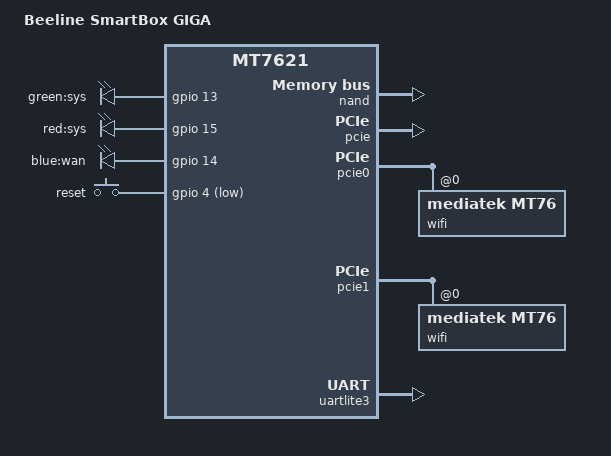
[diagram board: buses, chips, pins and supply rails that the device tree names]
// SPDX-License-Identifier: GPL-2.0-or-later OR MIT

#include "mt7621.dtsi"

#include <dt-bindings/gpio/gpio.h>
#include <dt-bindings/input/input.h>

/ {
	compatible = "beeline,smartbox-giga", "mediatek,mt7621-soc";
	model = "Beeline SmartBox GIGA";

	aliases {
		label-mac-device = &gmac0;

		led-boot = &led_sys_green;
		led-failsafe = &led_sys_red;
		led-running = &led_sys_green;
		led-upgrade = &led_sys_red;
	};

	leds {
		compatible = "gpio-leds";

		led_sys_green: sys_green {
			label = "green:sys";
			gpios = <&gpio 13 GPIO_ACTIVE_HIGH>;
		};

		led_sys_red: sys_red {
			label = "red:sys";
			gpios = <&gpio 15 GPIO_ACTIVE_HIGH>;
		};

		wan_blue {
			label = "blue:wan";
			gpios = <&gpio 14 GPIO_ACTIVE_HIGH>;
		};
	};

	keys {
		compatible = "gpio-keys";

		reset {
			label = "reset";
			gpios = <&gpio 4 GPIO_ACTIVE_LOW>;
			linux,code = <KEY_RESTART>;
		};
	};

	ubi-concat {
		compatible = "mtd-concat";
		devices = <&ubiconcat0 &ubiconcat1 &ubiconcat2 \
			&ubiconcat3>;

		partitions {
			compatible = "fixed-partitions";
			#address-cells = <1>;
			#size-cells = <1>;

			partition@0 {
				label = "ubi";
				reg = <0x0 0x5400000>;
			};
		};
	};
};

&nand {
	status = "okay";

	partitions {
		compatible = "sercomm,sc-partitions", "fixed-partitions";
		#address-cells = <1>;
		#size-cells = <1>;

		partition@0 {
			label = "u-boot";
			reg = <0x0 0x100000>;
			scpart-id = <0>;
			read-only;
		};

		partition@100000 {
			label = "dynamic partition map";
			reg = <0x100000 0x100000>;
			scpart-id = <1>;
		};

		factory: partition@200000 {
			label = "Factory";
			reg = <0x200000 0x100000>;
			scpart-id = <2>;
			read-only;
		};

		partition@300000 {
			label = "Boot Flag";
			reg = <0x300000 0x100000>;
			scpart-id = <3>;
		};

		partition@400000 {
			label = "kernel";
			reg = <0x400000 0x600000>;
			scpart-id = <4>;
		};

		partition@a00000 {
			label = "Kernel 2";
			reg = <0xa00000 0x600000>;
			scpart-id = <5>;
			read-only;
		};

		ubiconcat0: partition@1000000 {
			label = "File System 1";
			reg = <0x1000000 0x1800000>;
			scpart-id = <6>;
		};

		partition@2800000 {
			label = "File System 2";
			reg = <0x2800000 0x1800000>;
			scpart-id = <7>;
			read-only;
		};

		ubiconcat1: partition@4000000 {
			label = "Configuration/log";
			reg = <0x4000000 0x800000>;
			scpart-id = <8>;
		};

		ubiconcat2: partition@4800000 {
			label = "application tmp buffer (Ftool)";
			reg = <0x4800000 0xc00000>;
			scpart-id = <9>;
		};

		ubiconcat3: partition@5400000 {
			label = "container";
			reg = <0x5400000 0x2800000>;
			scpart-id = <10>;
		};

		partition@7c00000 {
			label = "bad block reserved";
			reg = <0x7c00000 0x380000>;
			read-only;
			scpart-id = <11>;
		};
	};
};

&pcie {
	status = "okay";
};

&pcie0 {
	wifi@0,0 {
		compatible = "mediatek,mt76";
		reg = <0x0 0 0 0 0>;
		mediatek,mtd-eeprom = <&factory 0x8000>;
		ieee80211-freq-limit = <5000000 6000000>;

		mtd-mac-address = <&factory 0x21000>;
		mtd-mac-address-increment = <5>;
	};
};

&pcie1 {
	wifi@0,0 {
		compatible = "mediatek,mt76";
		reg = <0x0 0 0 0 0>;
		mediatek,mtd-eeprom = <&factory 0x0>;
		ieee80211-freq-limit = <2400000 2500000>;

		mtd-mac-address = <&factory 0x21000>;
		mtd-mac-address-increment = <4>;
	};
};

&gmac0 {
		mtd-mac-address = <&factory 0x21000>;
};

&switch0 {
	ports {
		port@0 {
			status = "okay";
			label = "wan";

			mtd-mac-address = <&factory 0x21000>;
			mtd-mac-address-increment = <1>;
		};

		port@1 {
			status = "okay";
			label = "lan1";
		};

		port@2 {
			status = "okay";
			label = "lan2";
		};
	};
};

&uartlite3 {
	status = "okay";
};

&state_default {
	gpio {
		groups = "jtag", "uart2", "wdt";
		function = "gpio";
	};
};
